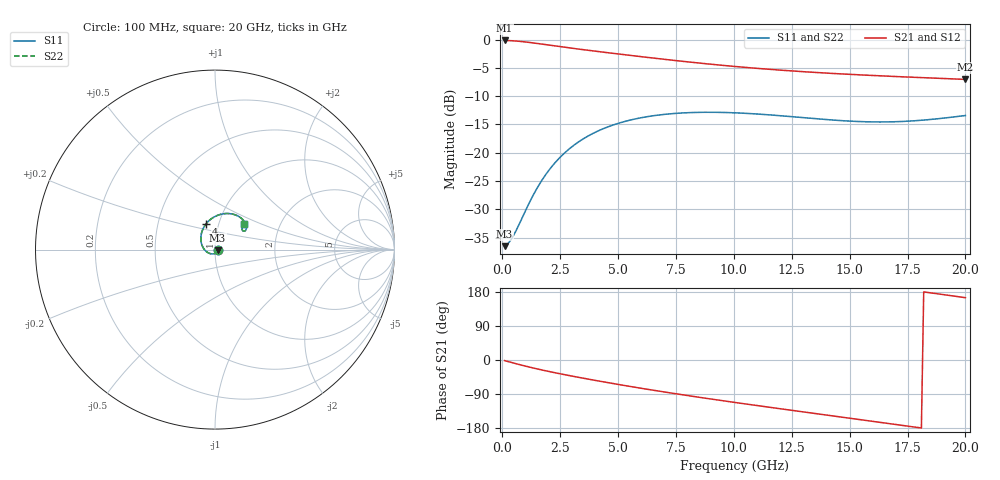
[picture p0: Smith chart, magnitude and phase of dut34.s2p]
! Created with skrf 1.9.0 (http://scikit-rf.org).
# GHz S RI R 50.0
!freq ReS11 ImS11 ReS21 ImS21 ReS12 ImS12 ReS22 ImS22
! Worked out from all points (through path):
!   200 points, 100 MHz to 20 GHz, reference 50 ohm
!   highest |S21| = -0.13 dB at 100 MHz (marker M1); lowest = -7.0 dB at 20 GHz (marker M2)
!   group delay of S21, straight-line fit = 25.7 ps
!   lowest |S11| = -36.5 dB at 100 MHz (marker M3), VSWR 1.03, Z = 51.5 - j0.401 ohm
!   |S11| at or under -10 dB: start of sweep to end of sweep
!   |S22| runs from -36.5 to -12.8 dB; largest |S21 - S12| = 2.2e-15
!   S11 on the Smith chart (normalised r, x): 100 MHz: 1.03, -0.01; 4 GHz: 0.87, +0.25; 20 GHz: 1.32, +0.39
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0.1  0.0144 -0.00389  0.9844 -0.029  0.9844 -0.029  0.0144 -0.00389
0.3  0.0113 -0.0116  0.9782 -0.0861  0.9782 -0.0861  0.0113 -0.0116
0.5  0.00518 -0.018  0.9664 -0.1412  0.9664 -0.1412  0.00518 -0.018
1.3  -0.0364 -0.0185  0.8786 -0.3305  0.8786 -0.3305  -0.0364 -0.0185
1.6  -0.052 -0.00747  0.8359 -0.3868  0.8359 -0.3868  -0.052 -0.00747
1.9  -0.0646 0.00819  0.791 -0.4358  0.791 -0.4358  -0.0646 0.00819
2.2  -0.0734 0.0269  0.745 -0.4784  0.745 -0.4784  -0.0734 0.0269
2.6  -0.0787 0.0544  0.6832 -0.5268  0.6832 -0.5268  -0.0787 0.0544
3  -0.0772 0.0822  0.6215 -0.567  0.6215 -0.567  -0.0772 0.0822
3.5  -0.0671 0.1146  0.5448 -0.6075  0.5448 -0.6075  -0.0671 0.1146
4  -0.0503 0.1426  0.4693 -0.6384  0.4693 -0.6384  -0.0503 0.1426
4.6  -0.0242 0.1689  0.3807 -0.664  0.3807 -0.664  -0.0242 0.1689
5.3  0.00993 0.1891  0.2813 -0.6798  0.2813 -0.6798  0.00993 0.1891
6.8  0.0807 0.2006  0.0883 -0.6719  0.0883 -0.6719  0.0807 0.2006
8.4  0.136 0.1824  -0.0815 -0.6192  -0.0815 -0.6192  0.136 0.1824
10.1  0.1671 0.1512  -0.2215 -0.5342  -0.2215 -0.5342  0.1671 0.1512
11.7  0.1753 0.1246  -0.3205 -0.4393  -0.3205 -0.4393  0.1753 0.1246
13.4  0.1703 0.107  -0.3962 -0.3292  -0.3962 -0.3292  0.1703 0.107
15.1  0.1599 0.1026  -0.444 -0.2132  -0.444 -0.2132  0.1599 0.1026
16.7  0.1521 0.1096  -0.4643 -0.1014  -0.4643 -0.1014  0.1521 0.1096
18.3  0.1511 0.1237  -0.4601 0.00901  -0.4601 0.00901  0.1511 0.1237
20  0.1604 0.1409  -0.4293 0.1192  -0.4293 0.1192  0.1604 0.1409
